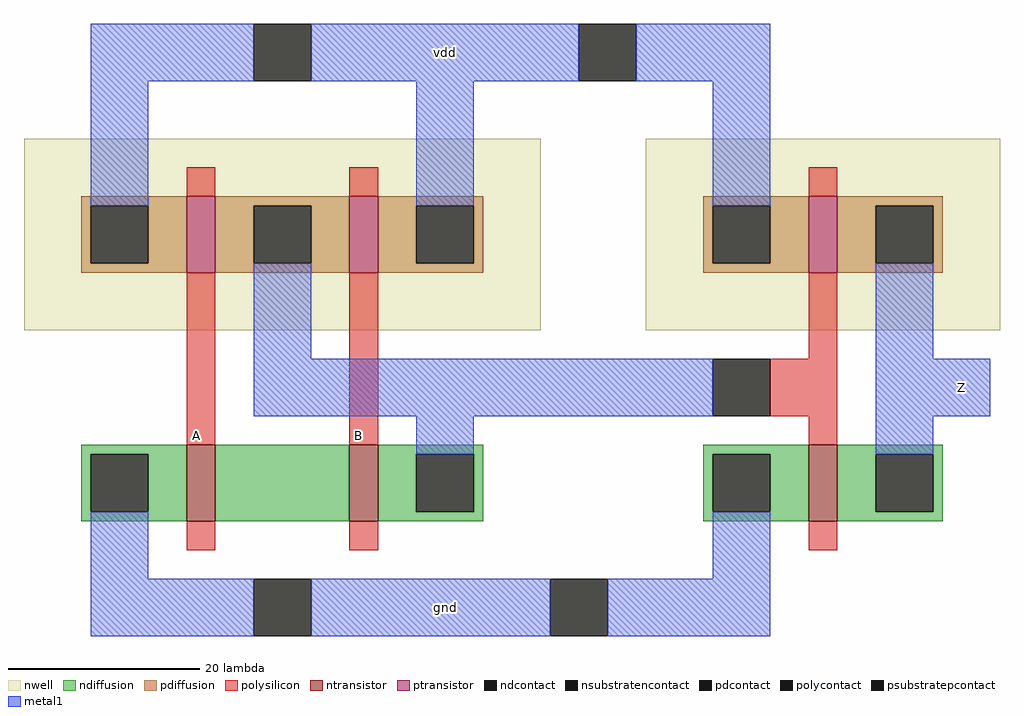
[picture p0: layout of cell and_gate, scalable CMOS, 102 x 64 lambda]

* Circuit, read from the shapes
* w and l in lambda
.subckt and_gate A B Z gnd vdd
M1 n1 A gnd gnd nfet w=8 l=3
M2 n2 B n1 gnd nfet w=8 l=3
M3 Z n2 gnd gnd nfet w=8 l=3
M4 n2 A vdd n3 pfet w=8 l=3
M5 vdd B n2 n3 pfet w=8 l=3
M6 Z n2 vdd n4 pfet w=8 l=3
.ends

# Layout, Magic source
magic
tech scmos
<< nwell >>
rect -6 -6 48 14
rect 59 -6 96 14
<< ntransistor >>
rect 11 -26 14 -18
rect 28 -26 31 -18
rect 76 -26 79 -18
<< ptransistor >>
rect 11 0 14 8
rect 28 0 31 8
rect 76 0 79 8
<< ndiffusion >>
rect 0 -19 11 -18
rect 0 -25 1 -19
rect 7 -25 11 -19
rect 0 -26 11 -25
rect 14 -26 28 -18
rect 31 -19 42 -18
rect 31 -25 35 -19
rect 41 -25 42 -19
rect 31 -26 42 -25
rect 65 -19 76 -18
rect 65 -25 66 -19
rect 72 -25 76 -19
rect 65 -26 76 -25
rect 79 -19 90 -18
rect 79 -25 83 -19
rect 89 -25 90 -19
rect 79 -26 90 -25
<< pdiffusion >>
rect 0 7 11 8
rect 0 1 1 7
rect 7 1 11 7
rect 0 0 11 1
rect 14 7 28 8
rect 14 1 18 7
rect 24 1 28 7
rect 14 0 28 1
rect 31 7 42 8
rect 31 1 35 7
rect 41 1 42 7
rect 31 0 42 1
rect 65 7 76 8
rect 65 1 66 7
rect 72 1 76 7
rect 65 0 76 1
rect 79 7 90 8
rect 79 1 83 7
rect 89 1 90 7
rect 79 0 90 1
<< ndcontact >>
rect 1 -25 7 -19
rect 35 -25 41 -19
rect 66 -25 72 -19
rect 83 -25 89 -19
<< pdcontact >>
rect 1 1 7 7
rect 18 1 24 7
rect 35 1 41 7
rect 66 1 72 7
rect 83 1 89 7
<< psubstratepcontact >>
rect 18 -38 24 -32
rect 49 -38 55 -32
<< nsubstratencontact >>
rect 18 20 24 26
rect 52 20 58 26
<< polysilicon >>
rect 11 8 14 11
rect 28 8 31 11
rect 76 8 79 11
rect 11 -18 14 0
rect 28 -18 31 0
rect 76 -9 79 0
rect 72 -15 79 -9
rect 76 -18 79 -15
rect 11 -29 14 -26
rect 28 -29 31 -26
rect 76 -29 79 -26
<< polycontact >>
rect 66 -15 72 -9
<< metal1 >>
rect 1 20 18 26
rect 24 20 52 26
rect 58 20 72 26
rect 1 7 7 20
rect 35 7 41 20
rect 66 7 72 20
rect 18 -9 24 1
rect 83 -9 89 1
rect 18 -15 66 -9
rect 83 -15 95 -9
rect 35 -19 41 -15
rect 83 -19 89 -15
rect 1 -32 7 -25
rect 66 -32 72 -25
rect 1 -38 18 -32
rect 24 -38 49 -32
rect 55 -38 72 -32
<< labels >>
rlabel polysilicon 12 -17 12 -17 1 A
rlabel polysilicon 29 -17 29 -17 1 B
rlabel metal1 92 -12 92 -12 7 Z
rlabel metal1 38 23 38 23 5 vdd
rlabel metal1 38 -35 38 -35 1 gnd
<< end >>
